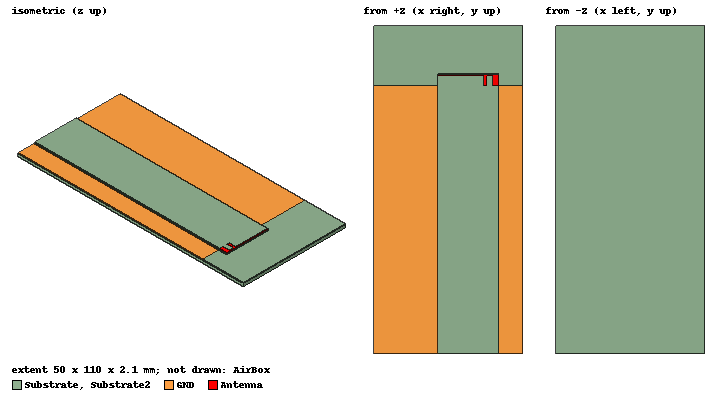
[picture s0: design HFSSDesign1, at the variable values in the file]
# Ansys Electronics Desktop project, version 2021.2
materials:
  vacuum: permittivity=1
  FR4_epoxy: permittivity=4.4 dielectric_loss_tangent=0.02

design HFSSDesign1 (HFSS, DrivenTerminal, model units mm)
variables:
  L = 15.5mm
  H = 3.2mm
  S = 2mm
  W = 0.5mm
  SubH = 1.6mm
  GndX = 50mm
  GndY = 90mm
  Offset = 12mm
  Lambda = 122.4mm
  Lambda_GndY = 85mm
  W2 = 1.8mm
  W1 = 1mm
  SubH2 = 0.5mm
  ModuleGndY = 10mm
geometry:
  GND = rectangle(corner=(-GndX/2, 0mm, 0mm), x_size=GndX, y_size=-GndY)
  Substrate [FR4_epoxy] = box(corner=(-GndX/2, -GndY, 0mm), size=(GndX, GndY+20mm, -SubH))
  FeedLine = rectangle(corner=(Offset, 0mm, SubH2), x_size=W1, y_size=H)
  Gndstub1 = rectangle(corner=(Offset+W1+S, 0mm, SubH2), x_size=W2, y_size=H)
  GndStub2 = rectangle(corner=(Offset, H, SubH2), x_size=S+W1+W2, y_size=W)
  Antenna = rectangle(corner=(Offset, H, SubH2), x_size=-L, y_size=W)
  Gnd_via = rectangle(corner=(Offset+W1+S, 0mm, SubH2), z_size=-SubH2, x_size=W2)
  Antenna.unite(FeedLine, Gnd_via, Gndstub1, GndStub2)
  Feed_Port = rectangle(corner=(Offset, 0mm, SubH2), z_size=-SubH2, x_size=W1)
  AirBox [vacuum] = box(corner=(-Lambda/2-GndX/2, -Lambda/2-GndY, -Lambda/2), size=(Lambda+GndX, Lambda+GndY+20mm, Lambda+SubH))
  Substrate2 [FR4_epoxy] = box(corner=(Offset-L, -GndY, 0mm), size=(L+W1+W2+S+0.1MM, GndY+H+W+0.1MM, SubH2))
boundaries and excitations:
  PerfE_GND: Perfect E Objects=GND
  PerfE_Antenna: Perfect E Objects=Antenna
  Rad1: Radiation Objects=AirBox
  T1: Terminal port=1 Edges=Antenna.edge(1 of 4) TerminalResistance=50ohm
  1: Lumped Port Faces=Feed_Port.face Impedance=50ohm
  reference conductors: GND
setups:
  Setup1: HfssDriven Frequency=2.4425GHz MaxDeltaS=0.02 MaximumPasses=20 MinimumPasses=1 MinimumConvergedPasses=1 PercentRefinement=30 BasisOrder=1 PortAccuracy=2
    sweep Sweep: 2GHz to 3GHz step 0.001GHz; Type=Interpolating InterpTolerance=0.5 InterpMaxSolns=250 PassivityErrorTolerance=0.0001
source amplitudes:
  1:1: 1V 0deg
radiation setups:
  Infinite Sphere1: Infinite Sphere Theta=0deg..180deg step 2deg Phi=-180deg..180deg step 2deg
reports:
  Terminal S Parameter Plot 1: dB(St(T1,T1)) vs Freq on Setup1 : Sweep; markers m1 at 2.438GHz
  Terminal Z Parameter Plot 1: re(Zt(T1,T1)), im(Zt(T1,T1)) vs Freq on Setup1 : Sweep; markers m1 at 2.441GHz, m2 at 2.439GHz
  Terminal S Parameter Chart 1: St(T1,T1) on Setup1 : Sweep [Freq=all]; markers m1 at 2.436GHz
  Gain Plot 1: dB(GainTotal) vs Phi, Theta on Setup1 : LastAdaptive, Infinite Sphere1 [Freq=2.4425GHz]
